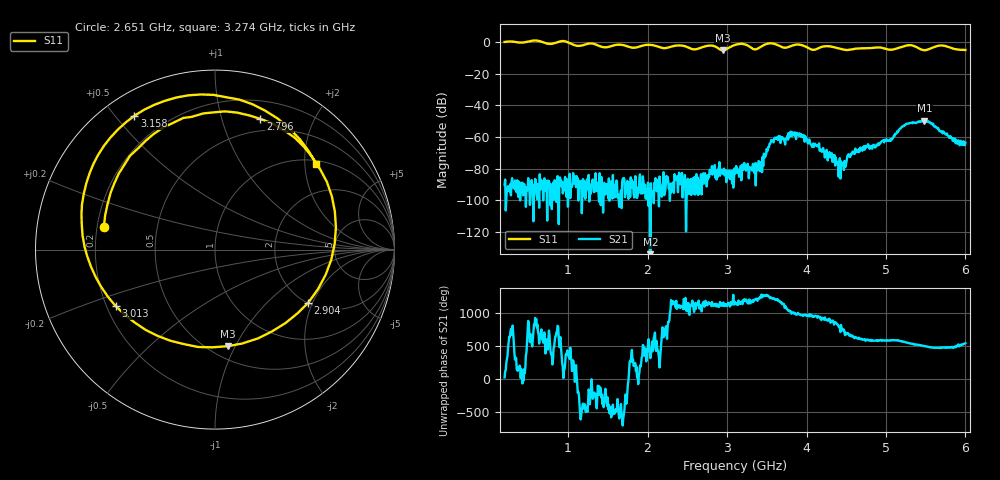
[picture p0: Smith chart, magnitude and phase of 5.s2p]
! NanoVNA-App
! Date: 2024-06-25 16:04:03
! Start: 200MHz Stop: 6GHz Points: 801
! S-Parameter data: F S11 S21 S12 S22
# Hz S RI R 50
!  Frequency  S11_Real  S11_Imag  S21_Real  S21_Imag  S12_Real  S12_Imag  S22_Real  S22_Imag
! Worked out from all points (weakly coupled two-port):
!   801 points, 200 MHz to 6 GHz, reference 50 ohm
!   highest |S21| = -49.61 dB at 5.485 GHz (marker M1); lowest = -142.2 dB at 2.034 GHz (marker M2)
!   lowest |S11| = -5.3 dB at 2.948 GHz (marker M3), VSWR 3.38, Z = 30.6 - j46.7 ohm
!   |S11| at or under -10 dB: nowhere
!   S12 and S22 are empty: the file has one direction only
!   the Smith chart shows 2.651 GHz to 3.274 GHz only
!   S11 on the Smith chart (normalised r, x): 2.651 GHz: 0.23, +0.09; 2.796 GHz: 0.37, +1.34; 2.904 GHz: 2.01, -1.86; 3.013 GHz: 0.24, -0.25; 3.158 GHz: 0.09, +0.56; 3.274 GHz: 1.09, +2.29
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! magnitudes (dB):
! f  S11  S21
! 200 MHz  0.0  -90.1
! 1.171 GHz  -2.2  -108.2
! 2.034 GHz  -1.8  -142.2
! 2.136 GHz  -3.0  -93.9
! 2.651 GHz  -4.0  -95.7
! 2.796 GHz  -2.3  -81.9
! 2.904 GHz  -4.5  -75.9
! 2.948 GHz  -5.3  -83.4
! 3.013 GHz  -3.9  -84.3
! 3.1 GHz  -1.9  -81.4
! 3.158 GHz  -1.2  -83.9
! 3.274 GHz  -2.6  -86.2
! 3.412 GHz  -3.4  -81.4
! 3.622 GHz  -1.6  -60.3
! 3.905 GHz  -1.6  -59.3
! 4.072 GHz  -4.9  -66.3
! 4.47 GHz  -4.8  -80.9
! 4.601 GHz  -4.3  -70.7
! 5.036 GHz  -4.8  -62.5
! 5.246 GHz  -2.4  -52.1
! 5.485 GHz  -5.2  -49.6
! 6 GHz  -5.0  -63.5
